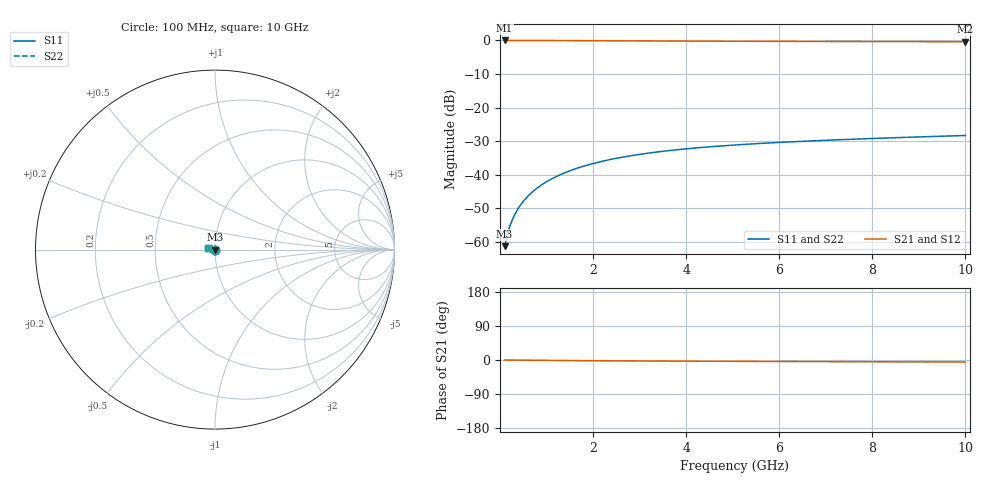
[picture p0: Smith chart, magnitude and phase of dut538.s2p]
! Touchstone file exported from HFSS 2024.1.0
!  File:  C:/UserFiles/LocalFiles/RDL_TSV_Batchsim/temp_TSV1_538_1779705146.aedt
!  Generated:  06:37:39 PM May 25, 2026
!  Design:  TSV1
!  Project:  temp_TSV1_538_1779705146
!  Setup:  Setup1
!  Solution:  Sweep
! Variables:
!  dtsv = 6.52um
!  hbump = 3um
!  htsv = 82.56um
!  lrdl = 252.1521522um
!  p = 40
!  p1 = 41.31um
!  t = 500um
!  trdl = 3um
!  wrdl = 24.89489489um
# GHz S MA R 50.000000
! Terminal data exported
! Port[1] = TSV22_T1
! Port[2] = TSV22_T2
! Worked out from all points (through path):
!   100 points, 100 MHz to 10 GHz, reference 50 ohm
!   highest |S21| = 0.00 dB at 100 MHz (marker M1); lowest = -0.4 dB at 10 GHz (marker M2)
!   lowest |S11| = -61.3 dB at 100 MHz (marker M3), VSWR 1.00, Z = 50 - j0.0799 ohm
!   |S11| at or under -10 dB: start of sweep to end of sweep
!   |S22| runs from -61.3 to -28.3 dB; largest |S21 - S12| = 5.2e-15
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0.1  0.0008606 -68.1  0.9996 -0.1  0.9996 -0.1  0.0008606 -68.1
! Gamma 0 0 0 0
! Port Impedance 50 0 50 0
0.2  0.001634 -81.1  0.9995 -0.2  0.9995 -0.2  0.001634 -81.1
0.3  0.002423 -86.9  0.9994 -0.3  0.9994 -0.3  0.002423 -86.9
0.4  0.003214 -90.6  0.9992 -0.4  0.9992 -0.4  0.003214 -90.6
0.5  0.004002 -93.6  0.999 -0.5  0.999 -0.5  0.004002 -93.6
0.6  0.004784 -96.1  0.9987 -0.6  0.9987 -0.6  0.004784 -96.1
0.7  0.00556 -98.4  0.9984 -0.7  0.9984 -0.7  0.00556 -98.4
0.8  0.006329 -100.5  0.9981 -0.8  0.9981 -0.8  0.006329 -100.5
0.9  0.007088 -102.6  0.9977 -0.9  0.9977 -0.9  0.007088 -102.6
1.1  0.008577 -106.4  0.9968 -1.1  0.9968 -1.1  0.008577 -106.4
1.4  0.01072 -111.7  0.9953 -1.4  0.9953 -1.4  0.01072 -111.7
1.6  0.01209 -115.1  0.9941 -1.6  0.9941 -1.6  0.01209 -115.1
1.8  0.0134 -118.3  0.9928 -1.7  0.9928 -1.7  0.0134 -118.3
2.1  0.01526 -122.9  0.9909 -1.9  0.9909 -1.9  0.01526 -122.9
2.5  0.01754 -128.7  0.9881 -2.2  0.9881 -2.2  0.01754 -128.7
2.9  0.01959 -134.2  0.9854 -2.5  0.9854 -2.5  0.01959 -134.2
3.4  0.02188 -140.4  0.9821 -2.8  0.9821 -2.8  0.02188 -140.4
4.2  0.02497 -149.4  0.9773 -3.2  0.9773 -3.2  0.02497 -149.4
5.1  0.02782 -158.2  0.9727 -3.5  0.9727 -3.5  0.02782 -158.2
6.7  0.03186 -171.3  0.9666 -4.1  0.9666 -4.1  0.03186 -171.3
8.4  0.03536 177.5  0.962 -4.7  0.962 -4.7  0.03536 177.5
10  0.03834 168.7  0.959 -5.3  0.959 -5.3  0.03834 168.7
